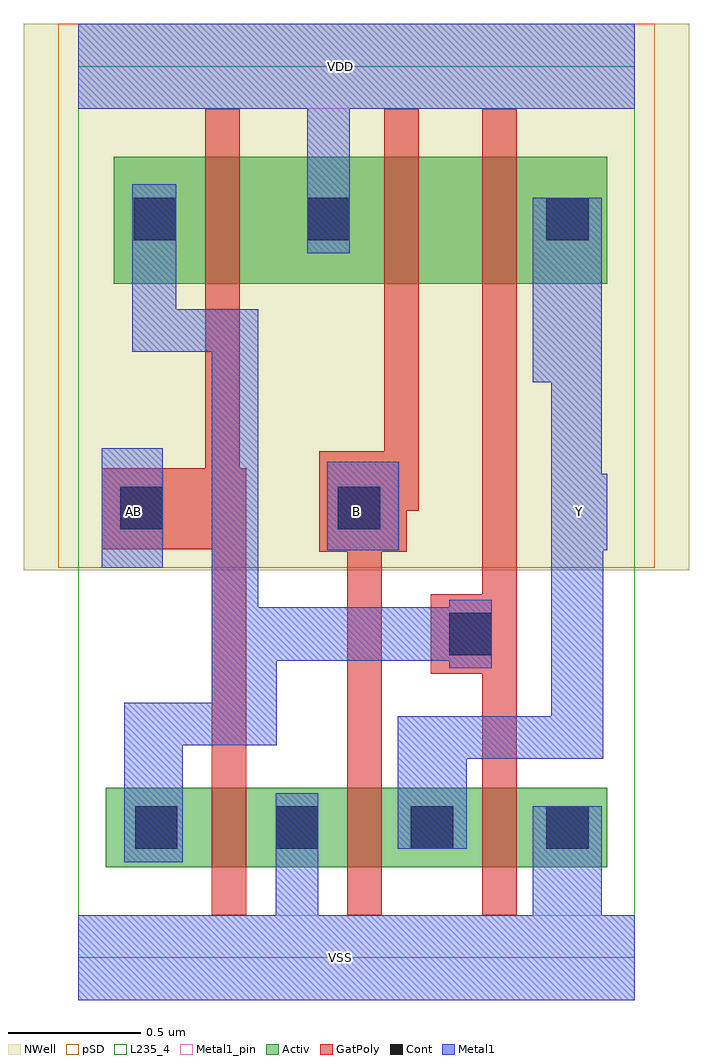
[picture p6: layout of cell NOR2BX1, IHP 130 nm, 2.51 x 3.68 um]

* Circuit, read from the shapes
.subckt NOR2BX1 AB B VDD VSS Y
XM1 VSS AB n1 VSUBS sg13_lv_nmos w=0.3u l=0.13u
XM2 Y B VSS VSUBS sg13_lv_nmos w=0.3u l=0.13u
XM3 VSS n1 Y VSUBS sg13_lv_nmos w=0.3u l=0.13u
XM4 VDD AB n1 n2 sg13_lv_pmos w=0.48u l=0.13u
XM5 n3 B VDD n2 sg13_lv_pmos w=0.48u l=0.13u
XM6 Y n1 n3 n2 sg13_lv_pmos w=0.48u l=0.13u
.ends

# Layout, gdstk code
import gdstk
lib = gdstk.Library(unit=1e-6, precision=1e-09)
def R(c, l, rs):  # rectangles x0, y0, x1, y1
    for r in rs: c.add(gdstk.rectangle(r[:2], r[2:], *l))
def A(c, l, x, y, w, h, nx, ny, dx, dy):  # array of equal rectangles
    R(c, l, [(x+i*dx, y+j*dy, x+i*dx+w, y+j*dy+h) for i in range(nx) for j in range(ny)])
def P(c, l, *ps):  # polygons
    for p in ps: c.add(gdstk.Polygon(p, *l))
Activ = (1, 0)
GatPoly = (5, 0)
Cont = (6, 0)
Metal1 = (8, 0)
Metal1_pin = (8, 2)
pSD = (14, 0)
NWell = (31, 0)
L235_4 = (235, 4)

nor2bx1 = lib.new_cell('NOR2BX1')
R(nor2bx1, Activ, [(0.105,0.34,1.995,0.64), (0.135,2.54,1.995,3.02)])
P(nor2bx1, GatPoly, [(1.015,0.16),(1.015,1.53),(0.91,1.53),(0.91,1.91),(1.155,1.91),(1.155,3.2),(1.285,3.2),(1.285,1.685),(1.24,1.685),(1.24,1.53),(1.145,1.53),(1.145,0.16)],
  [(0.505,0.16),(0.505,1.54),(0.09,1.54),(0.09,1.845),(0.48,1.845),(0.48,3.2),(0.61,3.2),(0.61,1.845),(0.635,1.845),(0.635,0.16)],
  [(1.525,0.16),(1.525,1.07),(1.33,1.07),(1.33,1.37),(1.525,1.37),(1.525,3.2),(1.655,3.2),(1.655,0.16)])
A(nor2bx1, Cont, 0.745, 0.41, 0.16, 0.16, 3, 1, 0.51, 0)
R(nor2bx1, Cont, [(0.215,0.41,0.375,0.57), (1.4,1.14,1.56,1.3), (0.16,1.615,0.32,1.775), (0.98,1.615,1.14,1.775), (0.21,2.705,0.37,2.865), (0.865,2.705,1.025,2.865), (1.765,2.705,1.925,2.865)])
R(nor2bx1, Metal1, [(0.09,1.47,0.32,1.92), (0.94,1.535,1.21,1.87)])
P(nor2bx1, Metal1, [(0.865,2.655),(0.865,3.2),(0,3.2),(0,3.52),(2.1,3.52),(2.1,3.2),(1.025,3.2),(1.025,2.655)],
  [(1.205,0.41),(1.205,0.91),(1.785,0.91),(1.785,2.17),(1.715,2.17),(1.715,2.865),(1.975,2.865),(1.975,1.825),(1.995,1.825),(1.995,1.535),(1.98,1.535),(1.98,0.75),(1.465,0.75),(1.465,0.41)],
  [(0,-0.16),(0,0.16),(0.745,0.16),(0.745,0.62),(0.905,0.62),(0.905,0.16),(1.715,0.16),(1.715,0.57),(1.975,0.57),(1.975,0.16),(2.1,0.16),(2.1,-0.16)],
  [(0.175,0.36),(0.175,0.96),(0.505,0.96),(0.505,2.285),(0.205,2.285),(0.205,2.915),(0.37,2.915),(0.37,2.445),(0.68,2.445),(0.68,1.32),(1.4,1.32),(1.4,1.35),(1.56,1.35),(1.56,1.09),(1.4,1.09),(1.4,1.12),(0.75,1.12),(0.75,0.8),(0.395,0.8),(0.395,0.36)])
R(nor2bx1, Metal1_pin, [(0,-0.16,2.1,0.16), (0.09,1.47,0.32,1.92), (0.94,1.535,1.21,1.87), (1.785,1.535,1.995,1.825), (0,3.2,2.1,3.52)])
P(nor2bx1, Metal1_pin, [(1.205,0.41),(1.205,0.91),(1.785,0.91),(1.785,2.17),(1.715,2.17),(1.715,2.865),(1.975,2.865),(1.975,1.825),(1.995,1.825),(1.995,1.535),(1.98,1.535),(1.98,0.75),(1.465,0.75),(1.465,0.41)])
R(nor2bx1, pSD, [(-0.075,1.47,2.175,3.52)])
R(nor2bx1, NWell, [(-0.205,1.46,2.305,3.52)])
R(nor2bx1, L235_4, [(0,0,2.1,3.36)])
nor2bx1.add(gdstk.Label('Y', (1.89,1.68), layer=8, texttype=25))
nor2bx1.add(gdstk.Label('B', (1.05,1.68), layer=8, texttype=25))
nor2bx1.add(gdstk.Label('AB', (0.21,1.68), layer=8, texttype=25))
nor2bx1.add(gdstk.Label('VSS', (0.99,0), layer=8, texttype=25))
nor2bx1.add(gdstk.Label('VDD', (0.99,3.36), layer=8, texttype=25))

lib.write_gds('NOR2BX1.gds')
